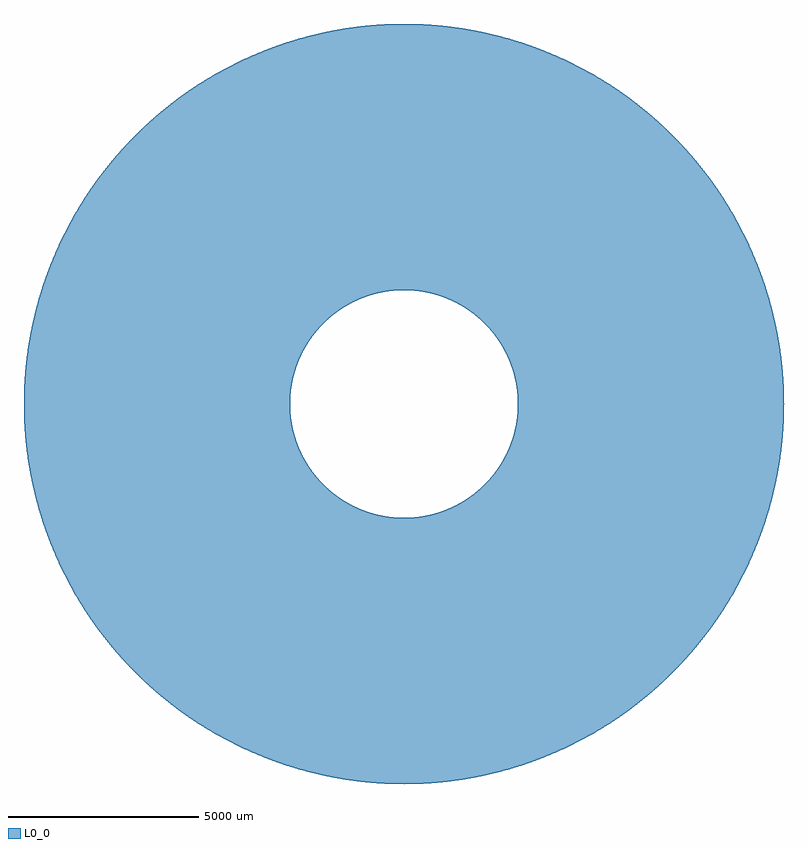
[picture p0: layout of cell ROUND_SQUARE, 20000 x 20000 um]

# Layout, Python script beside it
import gdspy

# Create a new GDSII library, which contains multiple cells.
lib = gdspy.GdsLibrary()

# Create a new cell in the library called 'ROUND_SQUARE'
cell = lib.new_cell('ROUND_SQUARE')

# Define the coordinates for the square with rounded corners
square_size = 10e3  # size of the square in micrometers (um)
radius = 1e3  # radius of corner rounding in micrometers (um)
half_size = square_size / 2

# Create the main square body with rounded corners using a polygon
rounded_square = gdspy.Round((half_size, half_size), square_size, inner_radius=(square_size / 2) - abs(2 * radius))

# Add the rounded square to the cell
cell.add(rounded_square)

# Create the roundings at each corner
for corner in [(radius, radius), (square_size - radius, radius), (square_size - radius, square_size - radius), (radius, square_size - radius)]:
    corner_rounding = gdspy.Round(corner, radius, tolerance=0.01)
    cell.add(corner_rounding)

# Save the library in a GDSII file called 'rounded_square.gds'
lib.write_gds('rounded_square.gds')

# Optionally, use the internal viewer to display the layout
